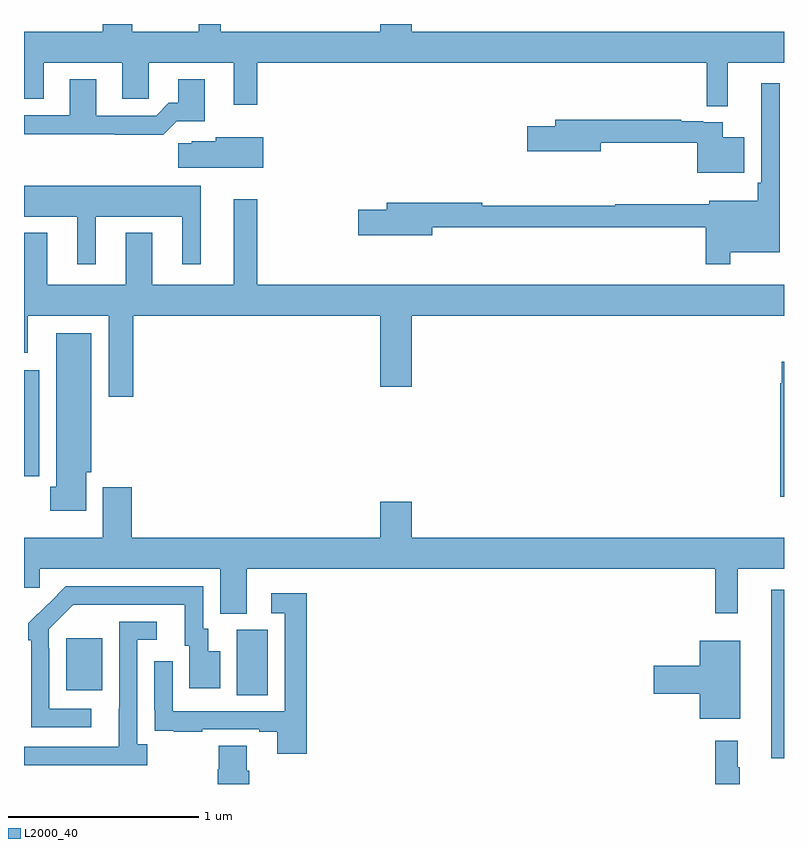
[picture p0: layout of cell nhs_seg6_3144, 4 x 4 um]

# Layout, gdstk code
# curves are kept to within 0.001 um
import gdstk
lib = gdstk.Library(unit=1e-6, precision=1e-09)
def R(c, l, rs):  # rectangles x0, y0, x1, y1
    for r in rs: c.add(gdstk.rectangle(r[:2], r[2:], *l))
def P(c, l, *ps):  # polygons
    for p in ps: c.add(gdstk.Polygon(p, *l))
L2000_40 = (2000, 40)

nhs_seg6_3144 = lib.new_cell('nhs_seg6_3144')
R(nhs_seg6_3144, L2000_40, [(298.934,983.636,299,984.523), (296.12,983.968,296.284,984.312), (295.223,983.993,295.411,984.268), (295,985.119,295.08,985.677)])
P(nhs_seg6_3144, L2000_40, [(298.703,987.296),(299,987.296),(299,987.46),(297.04,987.46),(297.04,987.5),(296.876,987.5),(296.876,987.46),(296.035,987.46),(296.035,987.5),(295.921,987.5),(295.921,987.46),(295.569,987.46),(295.569,987.5),(295.414,987.5),(295.414,987.46),(295,987.46),(295,987.106),(295.105,987.106),(295.105,987.296),(295.517,987.296),(295.517,987.106),(295.656,987.106),(295.656,987.296),(296.105,987.296),(296.105,987.075),(296.227,987.075),(296.227,987.296),(298.594,987.296),(298.594,987.067),(298.703,987.067)],
  [(295.803,986.988),(295.951,986.988),(295.951,987.208),(295.811,987.208),(295.811,987.085),(295.762,987.085),(295.695,987.018),(295.381,987.018),(295.381,987.208),(295.241,987.208),(295.241,987.021),(295,987.021),(295,986.92),(295.477,986.92),(295.477,986.918),(295.733,986.918)],
  [(298.717,986.3),(298.978,986.3),(298.978,987.187),(298.881,987.187),(298.881,986.665),(298.861,986.665),(298.861,986.569),(298.607,986.569),(298.607,986.551),(298.111,986.551),(298.111,986.543),(297.413,986.543),(297.413,986.558),(296.909,986.558),(296.909,986.522),(296.76,986.522),(296.76,986.387),(297.148,986.387),(297.148,986.43),(298.588,986.43),(298.588,986.235),(298.717,986.235)],
  [(298.792,986.905),(298.678,986.905),(298.678,986.982),(298.574,986.982),(298.574,986.988),(298.46,986.988),(298.46,986.995),(297.797,986.995),(297.797,986.961),(297.648,986.961),(297.648,986.831),(298.036,986.831),(298.036,986.874),(298.544,986.874),(298.544,986.717),(298.792,986.717)],
  [(296.26,986.905),(296.01,986.905),(296.01,986.884),(295.884,986.884),(295.884,986.873),(295.812,986.873),(295.812,986.744),(296.26,986.744)],
  [(295.378,986.486),(295.832,986.486),(295.832,986.235),(295.93,986.235),(295.93,986.65),(295,986.65),(295,986.486),(295.28,986.486),(295.28,986.235),(295.378,986.235)],
  [(295.574,985.964),(296.876,985.964),(296.876,985.59),(297.04,985.59),(297.04,985.964),(299,985.964),(299,986.128),(296.227,986.128),(296.227,986.578),(296.105,986.578),(296.105,986.128),(295.675,986.128),(295.675,986.401),(295.535,986.401),(295.535,986.128),(295.123,986.128),(295.123,986.401),(295,986.401),(295,985.77),(295.021,985.77),(295.021,985.964),(295.445,985.964),(295.445,985.539),(295.574,985.539)],
  [(295.327,985.14),(295.354,985.14),(295.354,985.873),(295.169,985.873),(295.169,985.064),(295.139,985.064),(295.139,984.938),(295.327,984.938)],
  [(299,985.723),(298.989,985.723),(298.989,985.61),(298.981,985.61),(298.981,985.013),(299,985.013)],
  [(296.173,984.632),(298.639,984.632),(298.639,984.399),(298.757,984.399),(298.757,984.632),(299,984.632),(299,984.796),(297.04,984.796),(297.04,984.985),(296.876,984.985),(296.876,984.796),(295.568,984.796),(295.568,985.063),(295.415,985.063),(295.415,984.796),(295,984.796),(295,984.534),(295.083,984.534),(295.083,984.632),(296.033,984.632),(296.033,984.397),(296.173,984.397)],
  [(295.354,983.895),(295.134,983.895),(295.134,984.215),(295.131,984.215),(295.131,984.315),(295.26,984.444),(295.847,984.444),(295.847,984.228),(295.871,984.228),(295.871,984.003),(296.032,984.003),(296.032,984.199),(295.969,984.199),(295.969,984.318),(295.944,984.318),(295.944,984.54),(295.22,984.54),(295.023,984.345),(295.023,984.257),(295.038,984.257),(295.038,983.799),(295.354,983.799)],
  [(296.489,984.505),(296.301,984.505),(296.301,984.399),(296.373,984.399),(296.373,983.883),(295.782,983.883),(295.782,984.145),(295.686,984.145),(295.686,983.89),(295.687,983.89),(295.687,983.781),(295.789,983.781),(295.789,983.775),(295.937,983.775),(295.937,983.787),(296.237,983.787),(296.237,983.775),(296.333,983.775),(296.333,983.658),(296.489,983.658)],
  [(295.648,983.71),(295.596,983.71),(295.596,984.258),(295.699,984.258),(295.699,984.354),(295.5,984.354),(295.5,983.897),(295.499,983.897),(295.499,983.697),(295,983.697),(295,983.6),(295.648,983.6)],
  [(298.771,984.253),(298.556,984.253),(298.556,984.122),(298.314,984.122),(298.314,983.975),(298.556,983.975),(298.556,983.843),(298.771,983.843)],
  [(298.768,983.588),(298.756,983.588),(298.756,983.728),(298.639,983.728),(298.639,983.5),(298.768,983.5)],
  [(296.186,983.57),(296.173,983.57),(296.173,983.702),(296.026,983.702),(296.026,983.577),(296.021,983.577),(296.021,983.5),(296.186,983.5)])

lib.write_gds('nhs_seg6_3144.gds')
